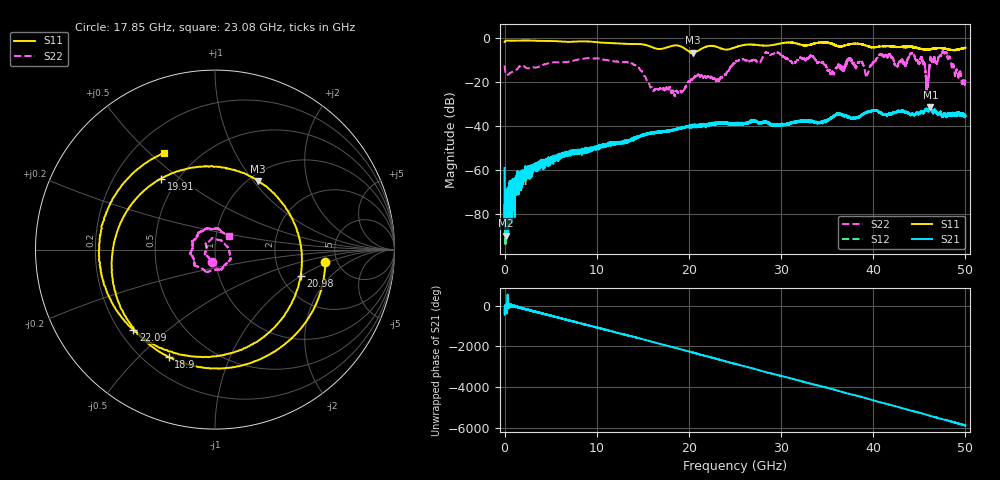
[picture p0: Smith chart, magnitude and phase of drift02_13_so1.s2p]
!Created with skrf (http://scikit-rf.org).
# Hz S RI R 50.0
!freq ReS11 ImS11 ReS21 ImS21 ReS12 ImS12 ReS22 ImS22
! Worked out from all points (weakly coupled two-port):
!   10001 points, 300 kHz to 50 GHz, reference 50 ohm
!   highest |S21| = -31.54 dB at 46.21 GHz (marker M1); lowest = -89.6 dB at 175.3 MHz (marker M2)
!   lowest |S11| = -6.9 dB at 20.41 GHz (marker M3), VSWR 2.64, Z = 54.7 + j52.6 ohm
!   |S11| at or under -10 dB: nowhere
!   |S22| runs from -26.6 to -6.2 dB; largest |S21 - S12| = 0.0031
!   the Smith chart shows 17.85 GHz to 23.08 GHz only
!   S11 on the Smith chart (normalised r, x): 17.85 GHz: 4.03, -0.89; 18.9 GHz: 0.30, -0.62; 19.91 GHz: 0.41, +0.43; 20.98 GHz: 2.53, -1.01; 22.09 GHz: 0.26, -0.39; 23.08 GHz: 0.32, +0.56
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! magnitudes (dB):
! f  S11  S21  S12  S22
! 300 kHz  -2.1  -59.0  -61.1  -12.7
! 175.3 MHz  -1.4  -89.6  -83.3  -16.9
! 3.09 GHz  -1.4  -58.9  -60.3  -13.4
! 8.335 GHz  -1.7  -51.6  -51.3  -9.7
! 13.7 GHz  -3.0  -46.3  -46.3  -11.6
! 16.67 GHz  -5.2  -43.3  -42.9  -23.4
! 17.85 GHz  -4.2  -42.1  -42.3  -23.1
! 18.9 GHz  -3.7  -41.3  -41.4  -24.2
! 19.91 GHz  -6.1  -40.3  -40.3  -19.9
! 20.41 GHz  -6.9  -39.4  -39.9  -19.0
! 20.98 GHz  -6.0  -39.7  -40.5  -16.8
! 22.09 GHz  -3.9  -39.3  -39.8  -17.7
! 23.08 GHz  -4.3  -38.9  -38.7  -19.3
! 25 GHz  -4.5  -39.5  -38.7  -11.4
! 33.34 GHz  -3.0  -37.4  -38.1  -8.4
! 39.32 GHz  -3.8  -33.9  -33.7  -17.1
! 41.67 GHz  -4.0  -34.8  -34.7  -7.6
! 44.25 GHz  -4.4  -34.6  -34.5  -7.4
! 45.86 GHz  -5.5  -32.9  -33.2  -20.0
! 46.21 GHz  -5.3  -31.5  -31.7  -9.6
! 47.76 GHz  -5.0  -34.4  -34.6  -6.8
! 50 GHz  -4.8  -35.5  -35.6  -19.9
